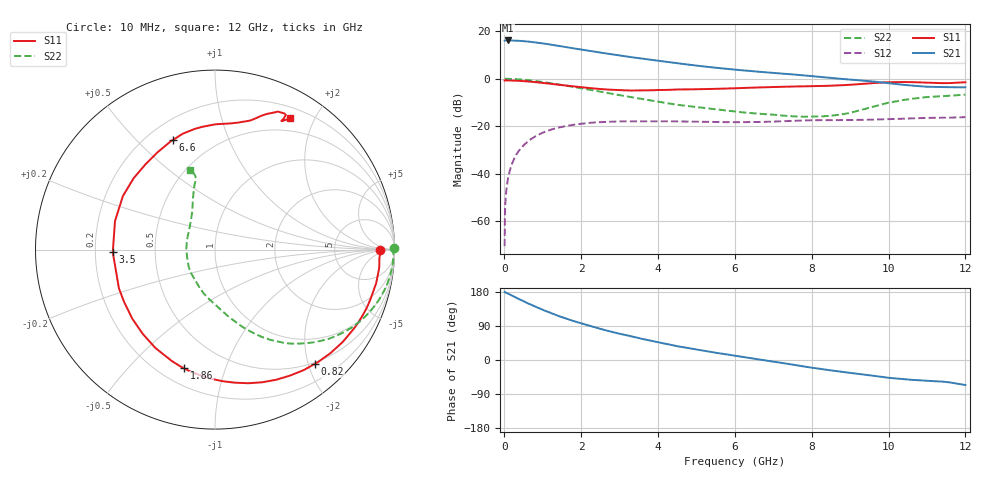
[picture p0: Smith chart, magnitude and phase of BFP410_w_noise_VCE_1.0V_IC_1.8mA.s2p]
! Infineon Technologies  Discrete & RF Semiconductors
! BFP410
! VCE =  1.0 V,  IC =  1.8 mA
! Common Emitter S-Parameters:  Nov 2015
# GHz  S  MA  R  50
!  f  S11  S21  S12  S22
! GHz  MAG  ANG  MAG  ANG  MAG  ANG  MAG  ANG
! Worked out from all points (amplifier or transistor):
!   243 points, 10 MHz to 12 GHz, reference 50 ohm
!   highest |S21| = 16.1 dB at 100 MHz (marker M1)
!   |S21| within 3 dB of that: start of sweep to 1.692 GHz
!   unconditionally stable (mu >= 1): 4.145 GHz to end of sweep
!   at 240 MHz: K = 0.04, MSG = 25.2 dB, |S12| = -34.3 dB
!   at 1.84 GHz: K = 0.38, MSG = 16.0 dB, |S12| = -19.3 dB
!   at 12 GHz: K = 1.16, MAG = 3.8 dB, |S12| = -16.2 dB
!   lowest NFmin = 0.81 dB at 900 MHz
!   S11 on the Smith chart (normalised r, x): 10 MHz: 23, +0; 820 MHz: 0.47, -2.12; 1.86 GHz: 0.29, -0.73; 3.5 GHz: 0.27, -0.01; 6.6 GHz: 0.30, +0.65; 12 GHz: 0.33, +1.68
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0.01  0.9168 0.0  6.315 179.6  0.0003 170.4  0.9964 0.5
0.015  0.9192 -0.5  6.343 179.3  0.0009 96.6  0.9947 0.1
0.025  0.9209 -1.3  6.367 178.8  0.0021 87.2  0.9934 -0.5
0.1  0.9209 -6.0  6.382 175.1  0.0081 86.9  0.9942 -3.4
0.22  0.9149 -13.1  6.357 169.0  0.0177 82.5  0.9878 -7.6
0.4  0.9007 -23.9  6.269 160.1  0.0318 76.4  0.9692 -13.8
0.6  0.8781 -35.9  6.07 150.2  0.0467 69.7  0.9382 -20.4
0.82  0.8458 -48.8  5.789 140.3  0.0619 62.4  0.8947 -27.2
1  0.8171 -59.2  5.539 132.5  0.0731 56.8  0.8539 -32.5
1.3  0.7673 -76.0  5.092 120.4  0.0888 48.0  0.7835 -40.3
1.86  0.6831 -104.7  4.288 101.1  0.1091 34.3  0.66 -52.3
2.02  0.6618 -112.3  4.086 96.1  0.1132 30.9  0.6281 -55.0
2.4  0.6183 -130.7  3.66 84.9  0.121 23.2  0.5534 -61.7
2.78  0.5864 -148.5  3.28 74.7  0.1251 16.6  0.4855 -67.7
3.5  0.5697 -178.5  2.709 57.5  0.1277 6.8  0.3849 -78.1
4.1  0.5793 161.2  2.337 44.8  0.1276 0.8  0.3192 -87.5
5  0.6031 138.8  1.889 27.5  0.1246 -6.1  0.2534 -104.2
6.1  0.6332 118.7  1.527 9.8  0.1217 -10.2  0.1994 -124.9
6.6  0.6545 110.9  1.408 1.9  0.1231 -11.3  0.1846 -137.4
8.2  0.7021 86.4  1.098 -23.0  0.1339 -18.3  0.1604 169.6
10.2  0.848 64.2  0.774 -48.8  0.1426 -25.6  0.3352 111.0
12  0.8431 60.2  0.658 -66.1  0.1554 -36.1  0.4629 107.2
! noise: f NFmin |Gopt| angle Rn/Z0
0.45  0.85  0.54  8  0.31
0.9  0.81  0.52  22  0.28
1.8  1.05  0.41  56  0.24
2.4  1.11  0.38  66  0.23
5.5  2.29  0.37  -144  0.22
10  4.11  0.71  -57  2.47
